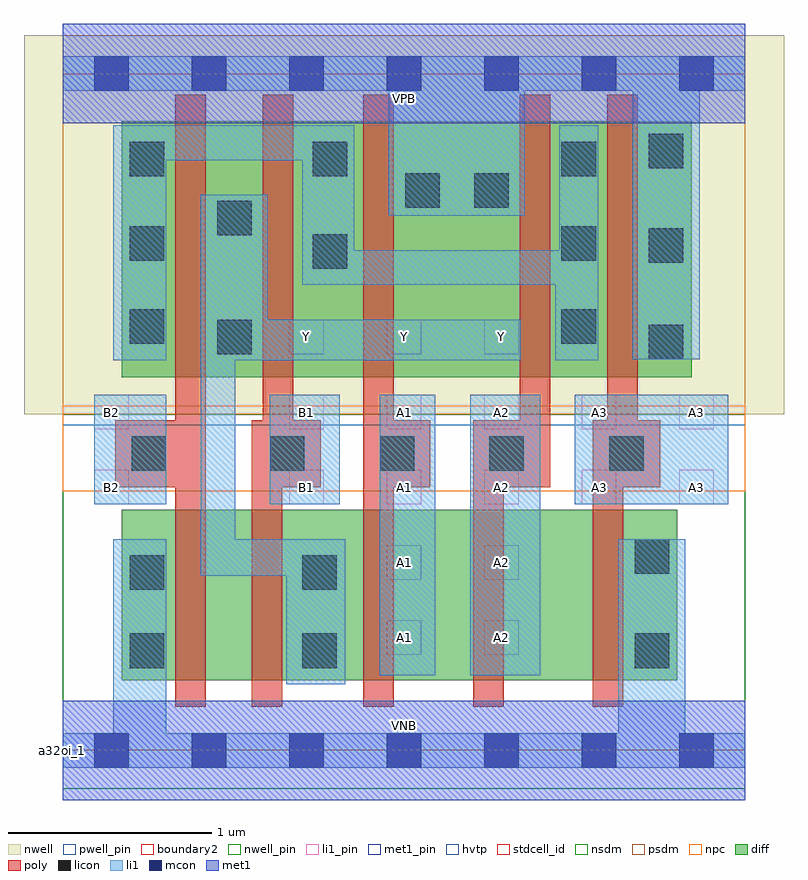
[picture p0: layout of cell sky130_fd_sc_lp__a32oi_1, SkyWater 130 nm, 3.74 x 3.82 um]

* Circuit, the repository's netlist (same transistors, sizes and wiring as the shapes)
* Copyright 2020 The SkyWater PDK Authors
*
* Licensed under the Apache License, Version 2.0 (the "License");
* you may not use this file except in compliance with the License.
* You may obtain a copy of the License at
*
*     https://www.apache.org/licenses/LICENSE-2.0
*
* Unless required by applicable law or agreed to in writing, software
* distributed under the License is distributed on an "AS IS" BASIS,
* WITHOUT WARRANTIES OR CONDITIONS OF ANY KIND, either express or implied.
* See the License for the specific language governing permissions and
* limitations under the License.
*
* SPDX-License-Identifier: Apache-2.0

.SUBCKT sky130_fd_sc_lp__a32oi_1 A1 A2 A3 B1 B2 VGND VNB VPB VPWR Y
*.PININFO A1:I A2:I A3:I B1:I B2:I VGND:I VNB:I VPB:I VPWR:I Y:O
MMPA0 pndA A1 VPWR VPB sky130_fd_pr__pfet_01v8_hvt m=1 w=1.26U l=0.15U mult=1 sa=0.265
+ sb=0.265 sd=0.28 area=0.063 perim=1.14
MMPA1 pndA A2 VPWR VPB sky130_fd_pr__pfet_01v8_hvt m=1 w=1.26U l=0.15U mult=1 sa=0.265
+ sb=0.265 sd=0.28 area=0.063 perim=1.14
MMPA2 pndA A3 VPWR VPB sky130_fd_pr__pfet_01v8_hvt m=1 w=1.26U l=0.15U mult=1 sa=0.265
+ sb=0.265 sd=0.28 area=0.063 perim=1.14
MMPB0 Y B1 pndA VPB sky130_fd_pr__pfet_01v8_hvt m=1 w=1.26U l=0.15U mult=1 sa=0.265
+ sb=0.265 sd=0.28 area=0.063 perim=1.14
MMPB1 Y B2 pndA VPB sky130_fd_pr__pfet_01v8_hvt m=1 w=1.26U l=0.15U mult=1 sa=0.265
+ sb=0.265 sd=0.28 area=0.063 perim=1.14
MMNA0 Y A1 sndA1 VNB sky130_fd_pr__nfet_01v8 m=1 w=0.84U l=0.15U mult=1 sa=0.265
+ sb=0.265 sd=0.28 area=0.063 perim=1.14
MMNA1 sndA1 A2 sndA2 VNB sky130_fd_pr__nfet_01v8 m=1 w=0.84U l=0.15U mult=1 sa=0.265
+ sb=0.265 sd=0.28 area=0.063 perim=1.14
MMNA2 sndA2 A3 VGND VNB sky130_fd_pr__nfet_01v8 m=1 w=0.84U l=0.15U mult=1 sa=0.265
+ sb=0.265 sd=0.28 area=0.063 perim=1.14
MMNB0 Y B1 sndB1 VNB sky130_fd_pr__nfet_01v8 m=1 w=0.84U l=0.15U mult=1 sa=0.265
+ sb=0.265 sd=0.28 area=0.063 perim=1.14
MMNB1 sndB1 B2 VGND VNB sky130_fd_pr__nfet_01v8 m=1 w=0.84U l=0.15U mult=1 sa=0.265
+ sb=0.265 sd=0.28 area=0.063 perim=1.14
.ENDS sky130_fd_sc_lp__a32oi_1

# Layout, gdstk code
import gdstk
lib = gdstk.Library(unit=1e-6, precision=1e-09)
def R(c, l, rs):  # rectangles x0, y0, x1, y1
    for r in rs: c.add(gdstk.rectangle(r[:2], r[2:], *l))
def A(c, l, x, y, w, h, nx, ny, dx, dy):  # array of equal rectangles
    R(c, l, [(x+i*dx, y+j*dy, x+i*dx+w, y+j*dy+h) for i in range(nx) for j in range(ny)])
def P(c, l, *ps):  # polygons
    for p in ps: c.add(gdstk.Polygon(p, *l))
nwell_pin = (64, 16)
nwell = (64, 20)
diff = (65, 20)
poly = (66, 20)
licon = (66, 44)
li1_pin = (67, 16)
li1 = (67, 20)
mcon = (67, 44)
met1_pin = (68, 16)
met1 = (68, 20)
hvtp = (78, 44)
stdcell_id = (81, 4)
nsdm = (93, 44)
psdm = (94, 20)
npc = (95, 20)
pwell_pin = (122, 16)
boundary2 = (236, 0)

sky130_fd_sc_lp__a32oi_1 = lib.new_cell('sky130_fd_sc_lp__a32oi_1')
R(sky130_fd_sc_lp__a32oi_1, nwell_pin, [(0,3.085,3.36,3.33)])
R(sky130_fd_sc_lp__a32oi_1, nwell, [(-0.19,1.655,3.55,3.52)])
R(sky130_fd_sc_lp__a32oi_1, diff, [(0.29,0.345,3.025,1.185), (0.29,1.835,3.095,3.095)])
P(sky130_fd_sc_lp__a32oi_1, poly, [(0.705,3.225),(0.555,3.225),(0.555,1.625),(0.26,1.625),(0.26,1.295),(0.555,1.295),(0.555,0.215),(0.705,0.215)],
  [(1.27,1.625),(1.135,1.625),(1.135,3.225),(0.985,3.225),(0.985,1.625),(0.93,1.625),(0.93,0.215),(1.08,0.215),(1.08,1.295),(1.27,1.295)],
  [(1.81,1.625),(1.63,1.625),(1.63,3.225),(1.48,3.225),(1.48,0.215),(1.63,0.215),(1.63,1.295),(1.81,1.295)],
  [(2.4,3.225),(2.25,3.225),(2.25,1.625),(2.02,1.625),(2.02,0.215),(2.17,0.215),(2.17,1.295),(2.4,1.295)],
  [(2.94,1.625),(2.83,1.625),(2.83,3.225),(2.68,3.225),(2.68,1.625),(2.61,1.625),(2.61,0.215),(2.76,0.215),(2.76,1.295),(2.94,1.295)])
A(sky130_fd_sc_lp__a32oi_1, licon, 1.02, 1.375, 0.17, 0.17, 3, 1, 0.54, 0)
R(sky130_fd_sc_lp__a32oi_1, licon, [(0.33,0.405,0.5,0.575), (1.18,0.405,1.35,0.575), (2.815,0.405,2.985,0.575), (0.33,0.79,0.5,0.96), (1.18,0.79,1.35,0.96), (2.815,0.87,2.985,1.04), (0.34,1.375,0.51,1.545), (2.69,1.375,2.86,1.545), (2.885,1.925,3.055,2.095), (0.76,1.95,0.93,2.12), (0.33,2,0.5,2.17), (2.455,2,2.625,2.17), (1.23,2.37,1.4,2.54), (2.885,2.4,3.055,2.57), (0.33,2.41,0.5,2.58), (2.455,2.41,2.625,2.58), (0.76,2.535,0.93,2.705), (1.685,2.67,1.855,2.84), (2.025,2.67,2.195,2.84), (0.33,2.825,0.5,2.995), (1.23,2.825,1.4,2.995), (2.455,2.825,2.625,2.995), (2.885,2.865,3.055,3.035)])
A(sky130_fd_sc_lp__a32oi_1, li1_pin, 1.115, 1.21, 0.17, 0.17, 5, 2, 0.48, 0.37)
A(sky130_fd_sc_lp__a32oi_1, li1_pin, 1.115, 1.95, 0.17, 0.17, 3, 1, 0.48, 0)
R(sky130_fd_sc_lp__a32oi_1, li1_pin, [(1.595,0.47,1.765,0.64), (2.075,0.47,2.245,0.64), (1.595,0.84,1.765,1.01), (2.075,0.84,2.245,1.01), (0.155,1.21,0.325,1.38), (0.155,1.58,0.325,1.75)])
R(sky130_fd_sc_lp__a32oi_1, li1, [(1.56,0.37,1.835,1.75), (2.005,0.37,2.35,1.75), (0.155,1.21,0.51,1.75), (1.02,1.21,1.365,1.75), (2.52,1.21,3.275,1.75)])
P(sky130_fd_sc_lp__a32oi_1, li1, [(2.255,2.12),(1.01,2.12),(1.01,2.735),(0.68,2.735),(0.68,0.86),(1.1,0.86),(1.1,0.325),(1.39,0.325),(1.39,1.04),(0.85,1.04),(0.85,1.92),(2.255,1.92)],
  [(2.635,3.075),(2.445,3.075),(2.445,2.46),(1.435,2.46),(1.435,3.075),(0.25,3.075),(0.25,1.92),(0.51,1.92),(0.51,2.905),(1.18,2.905),(1.18,2.29),(2.425,2.29),(2.425,1.92),(2.635,1.92)],
  [(3.36,3.415),(0,3.415),(0,3.245),(1.605,3.245),(1.605,2.63),(2.275,2.63),(2.275,3.245),(2.805,3.245),(2.805,1.925),(3.135,1.925),(3.135,3.245),(3.36,3.245)],
  [(3.36,0.085),(3.065,0.085),(3.065,1.04),(2.735,1.04),(2.735,0.085),(0.51,0.085),(0.51,1.04),(0.25,1.04),(0.25,0.085),(0,0.085),(0,-0.085),(3.36,-0.085)])
A(sky130_fd_sc_lp__a32oi_1, mcon, 0.155, -0.085, 0.17, 0.17, 7, 2, 0.48, 3.33)
R(sky130_fd_sc_lp__a32oi_1, met1_pin, [(0,0,3.36,0.245), (0,3.085,3.36,3.33)])
R(sky130_fd_sc_lp__a32oi_1, met1, [(0,-0.245,3.36,0.245), (0,3.085,3.36,3.575)])
R(sky130_fd_sc_lp__a32oi_1, hvtp, [(0,1.6,3.36,3.33)])
R(sky130_fd_sc_lp__a32oi_1, stdcell_id, [(0,0,3.36,3.33)])
R(sky130_fd_sc_lp__a32oi_1, nsdm, [(0,-0.19,3.36,1.655)])
R(sky130_fd_sc_lp__a32oi_1, psdm, [(0,1.655,3.36,3.52)])
R(sky130_fd_sc_lp__a32oi_1, npc, [(0,1.275,3.36,1.695)])
R(sky130_fd_sc_lp__a32oi_1, pwell_pin, [(0,0,3.36,0.245)])
R(sky130_fd_sc_lp__a32oi_1, boundary2, [(0,0,3.36,3.33)])
sky130_fd_sc_lp__a32oi_1.add(gdstk.Label('VNB', (1.68,0.123), layer=64, texttype=59))
sky130_fd_sc_lp__a32oi_1.add(gdstk.Label('VPB', (1.68,3.208), layer=64, texttype=5))
sky130_fd_sc_lp__a32oi_1.add(gdstk.Label('a32oi_1', (0,0), layer=83, texttype=44))
sky130_fd_sc_lp__a32oi_1.add(gdstk.Label('VPWR', (1.68,3.208), layer=68, texttype=5))
sky130_fd_sc_lp__a32oi_1.add(gdstk.Label('VGND', (1.68,0.123), layer=68, texttype=5))
sky130_fd_sc_lp__a32oi_1.add(gdstk.Label('A1', (1.68,0.555), layer=67, texttype=5))
sky130_fd_sc_lp__a32oi_1.add(gdstk.Label('A1', (1.68,0.925), layer=67, texttype=5))
sky130_fd_sc_lp__a32oi_1.add(gdstk.Label('A1', (1.68,1.295), layer=67, texttype=5))
sky130_fd_sc_lp__a32oi_1.add(gdstk.Label('A1', (1.68,1.665), layer=67, texttype=5))
sky130_fd_sc_lp__a32oi_1.add(gdstk.Label('Y', (1.2,2.035), layer=67, texttype=5))
sky130_fd_sc_lp__a32oi_1.add(gdstk.Label('Y', (1.68,2.035), layer=67, texttype=5))
sky130_fd_sc_lp__a32oi_1.add(gdstk.Label('Y', (2.16,2.035), layer=67, texttype=5))
sky130_fd_sc_lp__a32oi_1.add(gdstk.Label('A2', (2.16,0.555), layer=67, texttype=5))
sky130_fd_sc_lp__a32oi_1.add(gdstk.Label('A2', (2.16,0.925), layer=67, texttype=5))
sky130_fd_sc_lp__a32oi_1.add(gdstk.Label('A2', (2.16,1.295), layer=67, texttype=5))
sky130_fd_sc_lp__a32oi_1.add(gdstk.Label('A2', (2.16,1.665), layer=67, texttype=5))
sky130_fd_sc_lp__a32oi_1.add(gdstk.Label('A3', (3.12,1.295), layer=67, texttype=5))
sky130_fd_sc_lp__a32oi_1.add(gdstk.Label('A3', (3.12,1.665), layer=67, texttype=5))
sky130_fd_sc_lp__a32oi_1.add(gdstk.Label('B1', (1.2,1.295), layer=67, texttype=5))
sky130_fd_sc_lp__a32oi_1.add(gdstk.Label('B1', (1.2,1.665), layer=67, texttype=5))
sky130_fd_sc_lp__a32oi_1.add(gdstk.Label('B2', (0.24,1.295), layer=67, texttype=5))
sky130_fd_sc_lp__a32oi_1.add(gdstk.Label('B2', (0.24,1.665), layer=67, texttype=5))
sky130_fd_sc_lp__a32oi_1.add(gdstk.Label('A3', (2.64,1.665), layer=67, texttype=5))
sky130_fd_sc_lp__a32oi_1.add(gdstk.Label('A3', (2.64,1.295), layer=67, texttype=5))

lib.write_gds('sky130_fd_sc_lp__a32oi_1.gds')
